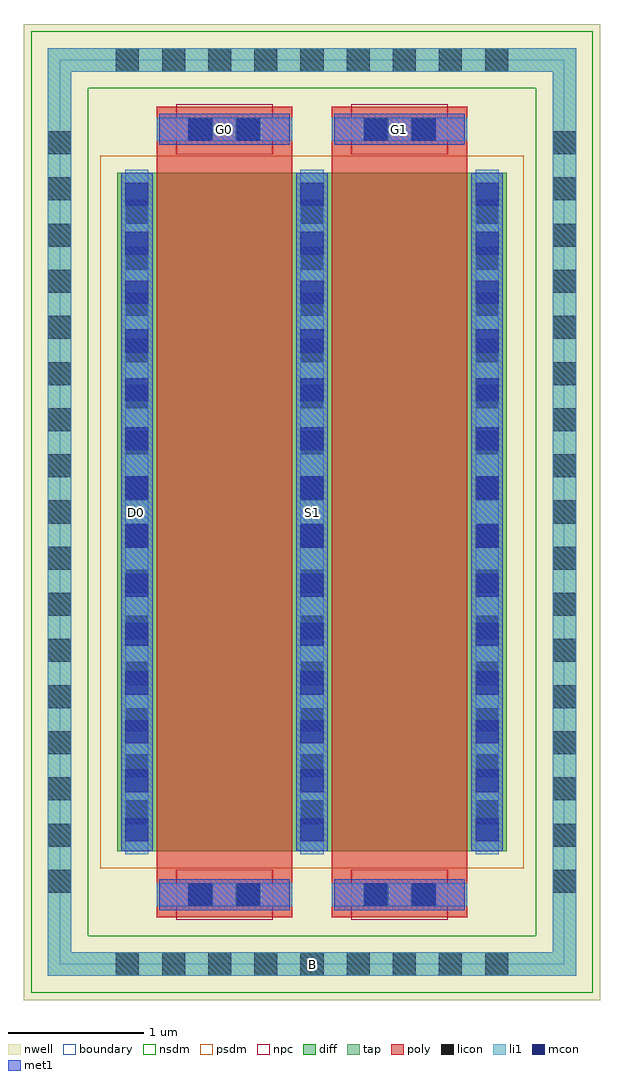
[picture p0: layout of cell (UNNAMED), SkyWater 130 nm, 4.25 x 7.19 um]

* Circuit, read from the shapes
.subckt (UNNAMED) B D0 G0 G1 S1
XM1 S1 G0 D0 B sky130_fd_pr__pfet_01v8 w=5 l=1
XM2 n1 G1 S1 B sky130_fd_pr__pfet_01v8 w=5 l=1
.ends

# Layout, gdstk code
import gdstk
lib = gdstk.Library(unit=1e-6, precision=1e-09)
def R(c, l, rs):  # rectangles x0, y0, x1, y1
    for r in rs: c.add(gdstk.rectangle(r[:2], r[2:], *l))
def A(c, l, x, y, w, h, nx, ny, dx, dy):  # array of equal rectangles
    R(c, l, [(x+i*dx, y+j*dy, x+i*dx+w, y+j*dy+h) for i in range(nx) for j in range(ny)])
nwell = (64, 20)
diff = (65, 20)
tap = (65, 44)
poly = (66, 20)
licon = (66, 44)
li1 = (67, 20)
mcon = (67, 44)
met1 = (68, 20)
nsdm = (93, 44)
psdm = (94, 20)
npc = (95, 20)
boundary = (235, 4)

c__unnamed_ = lib.new_cell('(UNNAMED)')
R(c__unnamed_, nwell, [(-2.125,-3.595,2.125,3.595)])
R(c__unnamed_, diff, [(-1.435,-2.5,1.435,2.5)])
R(c__unnamed_, tap, [(-1.945,-3.415,1.945,-3.245), (-1.945,-3.245,-1.775,3.245), (1.775,-3.245,1.945,3.245), (-1.945,3.245,1.945,3.415)])
R(c__unnamed_, poly, [(-1.145,-2.985,-0.145,2.985), (0.145,-2.985,1.145,2.985)])
A(c__unnamed_, licon, -1.445, -3.415, 0.17, 0.17, 9, 2, 0.34, 6.66)
A(c__unnamed_, licon, -1.945, -2.805, 0.17, 0.17, 1, 17, 0, 0.34)
A(c__unnamed_, licon, 1.775, -2.805, 0.17, 0.17, 1, 17, 0, 0.34)
A(c__unnamed_, licon, -1.375, -2.295, 0.17, 0.17, 3, 14, 1.29, 0.34)
R(c__unnamed_, licon, [(-0.9,-2.905,-0.73,-2.735), (-0.56,-2.905,-0.39,-2.735), (0.39,-2.905,0.56,-2.735), (0.73,-2.905,0.9,-2.735), (-0.9,2.735,-0.73,2.905), (-0.56,2.735,-0.39,2.905), (0.39,2.735,0.56,2.905), (0.73,2.735,0.9,2.905)])
A(c__unnamed_, li1, -1.375, -2.52, 0.17, 5.04, 3, 1, 1.29, 0)
R(c__unnamed_, li1, [(-1.945,-3.415,1.945,-3.245), (-1.945,-3.245,-1.775,3.245), (1.775,-3.245,1.945,3.245), (-1.145,-2.905,-0.145,-2.735), (0.145,-2.905,1.145,-2.735), (-1.145,2.735,-0.145,2.905), (0.145,2.735,1.145,2.905), (-1.945,3.245,1.945,3.415)])
A(c__unnamed_, mcon, -1.375, -2.425, 0.17, 0.17, 3, 14, 1.29, 0.36)
R(c__unnamed_, mcon, [(-0.91,-2.905,-0.74,-2.735), (-0.55,-2.905,-0.38,-2.735), (0.38,-2.905,0.55,-2.735), (0.74,-2.905,0.91,-2.735), (-0.91,2.735,-0.74,2.905), (-0.55,2.735,-0.38,2.905), (0.38,2.735,0.55,2.905), (0.74,2.735,0.91,2.905)])
A(c__unnamed_, met1, -1.405, -2.5, 0.23, 5, 3, 1, 1.29, 0)
R(c__unnamed_, met1, [(-1.125,-2.935,-0.165,-2.705), (0.165,-2.935,1.125,-2.705), (-1.125,2.705,-0.165,2.935), (0.165,2.705,1.125,2.935)])
R(c__unnamed_, nsdm, [(-2.07,-3.54,2.07,-3.12), (-2.07,-3.12,-1.65,3.12), (1.65,-3.12,2.07,3.12), (-2.07,3.12,2.07,3.54)])
R(c__unnamed_, psdm, [(-1.56,-2.625,1.56,2.625)])
R(c__unnamed_, npc, [(-1,-3.005,-0.29,-2.635), (0.29,-3.005,1,-2.635), (-1,2.635,-0.29,3.005), (0.29,2.635,1,3.005)])
R(c__unnamed_, boundary, [(-1.86,-3.33,1.86,3.33)])
c__unnamed_.add(gdstk.Label('B', (0,-3.33), layer=67, texttype=5))
c__unnamed_.add(gdstk.Label('D0', (-1.29,0), layer=67, texttype=5))
c__unnamed_.add(gdstk.Label('G0', (-0.645,2.82), layer=67, texttype=5))
c__unnamed_.add(gdstk.Label('S1', (0,0), layer=67, texttype=5))
c__unnamed_.add(gdstk.Label('G1', (0.645,2.82), layer=67, texttype=5))

lib.write_gds('_UNNAMED_.gds')
